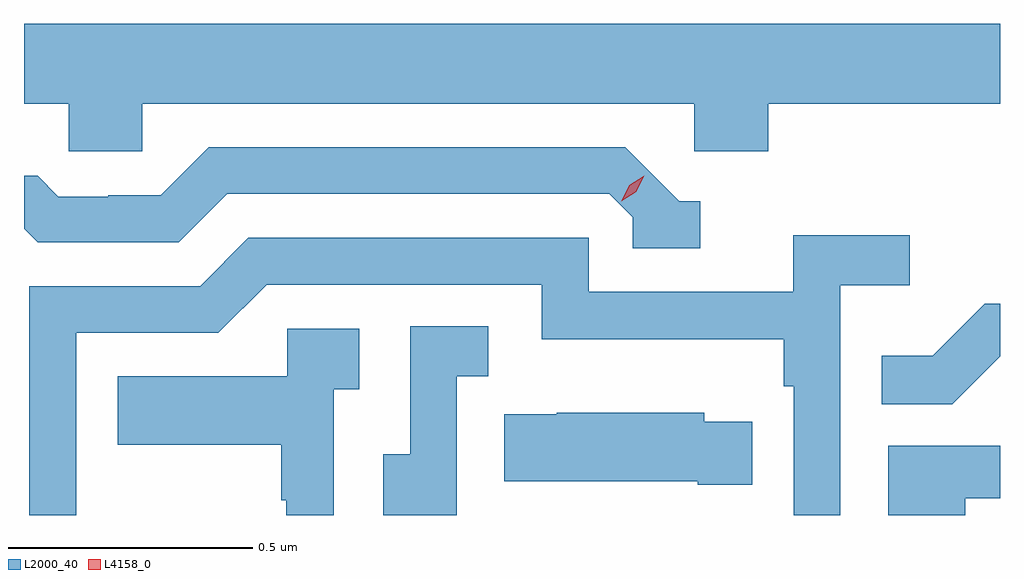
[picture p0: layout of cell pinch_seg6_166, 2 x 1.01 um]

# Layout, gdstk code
import gdstk
lib = gdstk.Library(unit=1e-6, precision=1e-09)
def P(c, l, *ps):  # polygons
    for p in ps: c.add(gdstk.Polygon(p, *l))
L2000_40 = (2000, 40)
L4158_0 = (4158, 0)

pinch_seg6_166 = lib.new_cell('pinch_seg6_166')
P(pinch_seg6_166, L2000_40, [(1021.603,940.676),(1021.695,940.676),(1021.695,940.578),(1021.845,940.578),(1021.845,940.676),(1022.976,940.676),(1022.976,940.578),(1023.128,940.578),(1023.128,940.676),(1023.603,940.676),(1023.603,940.84),(1021.603,940.84)],
  [(1022.989,940.476),(1022.946,940.476),(1022.835,940.587),(1021.982,940.587),(1021.883,940.488),(1021.776,940.488),(1021.776,940.485),(1021.673,940.485),(1021.631,940.528),(1021.603,940.528),(1021.603,940.42),(1021.631,940.392),(1021.92,940.392),(1022.019,940.491),(1022.802,940.491),(1022.85,940.443),(1022.85,940.38),(1022.989,940.38)],
  [(1021.71,940.206),(1022.001,940.206),(1022.1,940.305),(1022.664,940.305),(1022.664,940.193),(1023.16,940.193),(1023.16,940.097),(1023.18,940.097),(1023.18,939.832),(1023.276,939.832),(1023.276,940.304),(1023.418,940.304),(1023.418,940.406),(1023.179,940.406),(1023.179,940.29),(1022.76,940.29),(1022.76,940.401),(1022.063,940.401),(1021.964,940.302),(1021.614,940.302),(1021.614,939.832),(1021.71,939.832)],
  [(1023.603,940.158),(1023.603,940.266),(1023.572,940.266),(1023.465,940.159),(1023.361,940.159),(1023.361,940.06),(1023.505,940.06)],
  [(1022.49,940.117),(1022.554,940.117),(1022.554,940.22),(1022.394,940.22),(1022.394,939.957),(1022.339,939.957),(1022.339,939.832),(1022.49,939.832)],
  [(1022.238,940.091),(1022.29,940.091),(1022.29,940.215),(1022.142,940.215),(1022.142,940.117),(1021.795,940.117),(1021.795,939.977),(1022.13,939.977),(1022.13,939.863),(1022.14,939.863),(1022.14,939.832),(1022.238,939.832)],
  [(1023.095,940.024),(1022.997,940.024),(1022.997,940.042),(1022.695,940.042),(1022.695,940.039),(1022.587,940.039),(1022.587,939.902),(1022.984,939.902),(1022.984,939.895),(1023.095,939.895)],
  [(1023.532,939.867),(1023.603,939.867),(1023.603,939.975),(1023.374,939.975),(1023.374,939.832),(1023.532,939.832)])
P(pinch_seg6_166, L4158_0, [(1022.827,940.476),(1022.827,940.476),(1022.843,940.509),(1022.874,940.528),(1022.874,940.528),(1022.874,940.528),(1022.858,940.495),(1022.827,940.476)])

lib.write_gds('pinch_seg6_166.gds')
